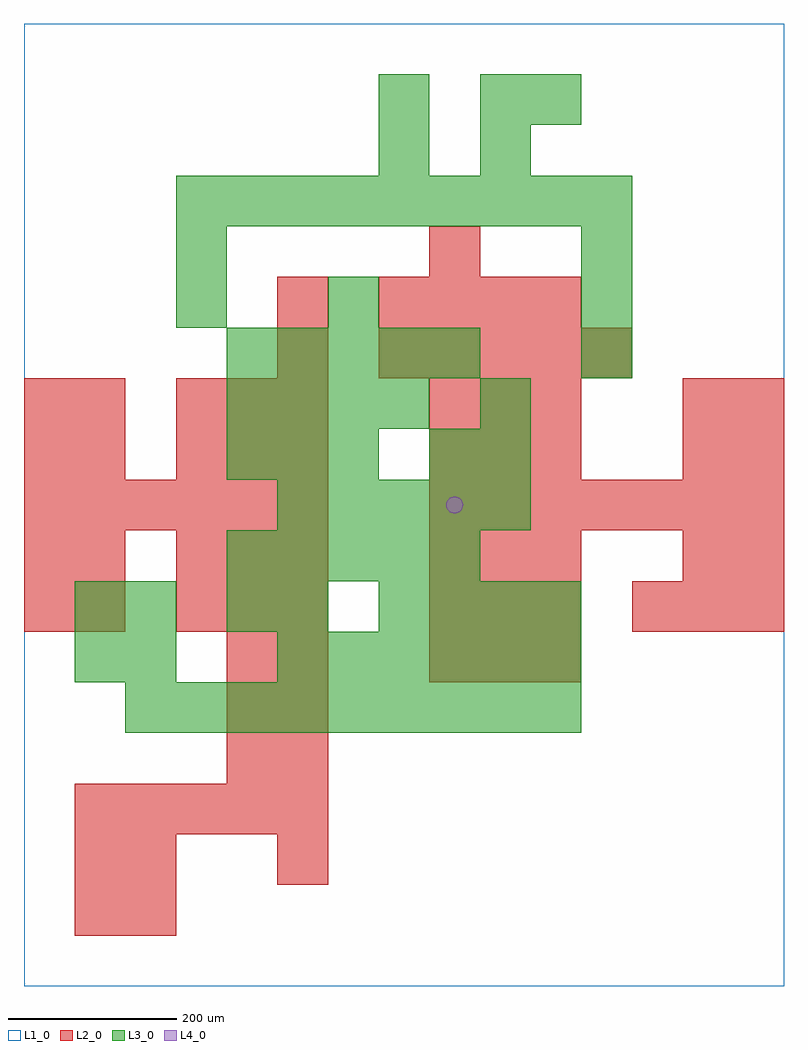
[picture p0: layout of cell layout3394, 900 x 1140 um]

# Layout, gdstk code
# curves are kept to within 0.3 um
import gdstk
lib = gdstk.Library(unit=1e-6, precision=1e-09)
def R(c, l, rs):  # rectangles x0, y0, x1, y1
    for r in rs: c.add(gdstk.rectangle(r[:2], r[2:], *l))
def A(c, l, x, y, w, h, nx, ny, dx, dy):  # array of equal rectangles
    R(c, l, [(x+i*dx, y+j*dy, x+i*dx+w, y+j*dy+h) for i in range(nx) for j in range(ny)])
def P(c, l, *ps):  # polygons
    for p in ps: c.add(gdstk.Polygon(p, *l))
L1_0 = (1, 0)
L2_0 = (2, 0)
L3_0 = (3, 0)
L4_0 = (4, 0)

layout3394 = lib.new_cell('layout3394')
R(layout3394, L1_0, [(0,0,900,1140)])
A(layout3394, L2_0, 60, 180, 60, 60, 5, 1, 60, 0)
A(layout3394, L2_0, 240, 240, 60, 60, 1, 3, 0, 60)
A(layout3394, L2_0, 300, 240, 60, 60, 1, 3, 0, 60)
A(layout3394, L2_0, 480, 360, 60, 60, 3, 3, 60, 60)
A(layout3394, L2_0, 180, 420, 60, 60, 3, 2, 60, 60)
A(layout3394, L2_0, 720, 420, 60, 60, 3, 1, 60, 0)
A(layout3394, L2_0, 0, 540, 60, 60, 6, 1, 60, 0)
A(layout3394, L2_0, 480, 540, 60, 60, 7, 1, 60, 0)
A(layout3394, L2_0, 180, 600, 60, 60, 3, 2, 60, 60)
A(layout3394, L2_0, 480, 600, 60, 60, 3, 2, 60, 60)
A(layout3394, L2_0, 420, 720, 60, 60, 5, 1, 60, 0)
A(layout3394, L2_0, 420, 780, 60, 60, 4, 1, 60, 0)
R(layout3394, L2_0, [(60,60,120,120), (120,60,180,120), (60,120,120,180), (120,120,180,180), (300,120,360,180), (0,420,60,480), (60,420,120,480), (0,480,60,540), (60,480,120,540), (780,480,840,540), (840,480,900,540), (0,600,60,660), (60,600,120,660), (780,600,840,660), (840,600,900,660), (0,660,60,720), (60,660,120,720), (780,660,840,720), (840,660,900,720), (300,720,360,780), (300,780,360,840), (480,840,540,900)])
A(layout3394, L3_0, 120, 300, 60, 60, 9, 1, 60, 0)
A(layout3394, L3_0, 300, 360, 60, 60, 6, 1, 60, 0)
A(layout3394, L3_0, 420, 420, 60, 60, 4, 1, 60, 0)
A(layout3394, L3_0, 240, 480, 60, 60, 5, 2, 60, 240)
A(layout3394, L3_0, 300, 540, 60, 60, 5, 1, 60, 0)
A(layout3394, L3_0, 240, 600, 60, 60, 3, 1, 60, 0)
A(layout3394, L3_0, 240, 660, 60, 60, 4, 1, 60, 0)
A(layout3394, L3_0, 660, 720, 60, 60, 1, 3, 0, 60)
A(layout3394, L3_0, 180, 900, 60, 60, 9, 1, 60, 0)
R(layout3394, L3_0, [(60,360,120,420), (120,360,180,420), (60,420,120,480), (120,420,180,480), (240,420,300,480), (300,420,360,480), (480,600,540,660), (540,600,600,660), (540,660,600,720), (180,780,240,840), (360,780,420,840), (180,840,240,900), (420,960,480,1020), (540,960,600,1020), (420,1020,480,1080), (540,1020,600,1080), (600,1020,660,1080)])
P(layout3394, L4_0, [(520,570),(519.239,573.827),(517.071,577.071),(513.827,579.239),(510,580),(506.173,579.239),(502.929,577.071),(500.761,573.827),(500,570),(500.761,566.173),(502.929,562.929),(506.173,560.761),(510,560),(513.827,560.761),(517.071,562.929),(519.239,566.173)])

lib.write_gds('layout3394.gds')
